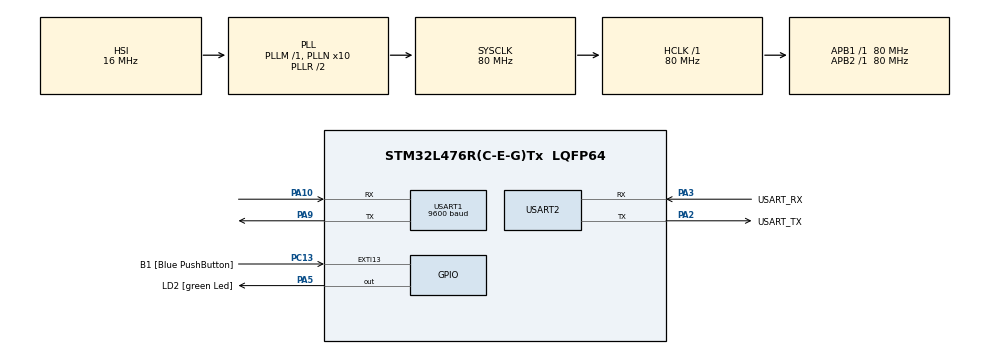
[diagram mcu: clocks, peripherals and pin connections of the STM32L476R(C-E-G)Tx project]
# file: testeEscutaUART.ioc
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Mcu.Family=STM32L4
Mcu.Name=STM32L476R(C-E-G)Tx
Mcu.Package=LQFP64
NVIC.PriorityGroup=NVIC_PRIORITYGROUP_4
NVIC.USART1_IRQn=true\:0\:0\:false\:false\:true\:true\:true\:true
NVIC.USART2_IRQn=true\:0\:0\:false\:false\:true\:true\:true\:true
PA10.Mode=Asynchronous
PA10.Signal=USART1_RX
PA13\ (JTMS-SWDIO).GPIO_Label=TMS
PA13\ (JTMS-SWDIO).Mode=Serial_Wire
PA13\ (JTMS-SWDIO).Signal=SYS_JTMS-SWDIO
PA14\ (JTCK-SWCLK).GPIO_Label=TCK
PA14\ (JTCK-SWCLK).Mode=Serial_Wire
PA14\ (JTCK-SWCLK).Signal=SYS_JTCK-SWCLK
PA2.GPIO_Label=USART_TX
PA2.GPIO_Mode=GPIO_MODE_AF_PP
PA2.GPIO_PuPd=GPIO_NOPULL
PA2.GPIO_Speed=GPIO_SPEED_FREQ_VERY_HIGH
PA2.Mode=Asynchronous
PA2.Signal=USART2_TX
PA3.GPIO_Label=USART_RX
PA3.GPIO_Mode=GPIO_MODE_AF_PP
PA3.GPIO_PuPd=GPIO_NOPULL
PA3.GPIO_Speed=GPIO_SPEED_FREQ_VERY_HIGH
PA3.Mode=Asynchronous
PA3.Signal=USART2_RX
PA5.GPIO_Label=LD2 [green Led]
PA5.GPIO_ModeDefaultOutputPP=GPIO_MODE_OUTPUT_PP
PA5.GPIO_PuPd=GPIO_NOPULL
PA5.GPIO_Speed=GPIO_SPEED_FREQ_LOW
PA5.Signal=GPIO_Output
PA9.Mode=Asynchronous
PA9.Signal=USART1_TX
PB3\ (JTDO-TRACESWO).GPIO_Label=SWO
PB3\ (JTDO-TRACESWO).Signal=SYS_JTDO-SWO
PC13.GPIO_Label=B1 [Blue PushButton]
PC13.GPIO_ModeDefaultEXTI=GPIO_MODE_IT_FALLING
PC13.GPIO_PuPd=GPIO_NOPULL
PC13.Signal=GPXTI13
PC14-OSC32_IN\ (PC14).Mode=LSE-External-Oscillator
PC14-OSC32_IN\ (PC14).Signal=RCC_OSC32_IN
PC15-OSC32_OUT\ (PC15).Mode=LSE-External-Oscillator
PC15-OSC32_OUT\ (PC15).Signal=RCC_OSC32_OUT
PH0-OSC_IN\ (PH0).Signal=RCC_OSC_IN
PH1-OSC_OUT\ (PH1).Signal=RCC_OSC_OUT
ProjectManager.HeapSize=0x200
ProjectManager.StackSize=0x400
ProjectManager.TargetToolchain=CMake
RCC.ADCFreq_Value=64000000
RCC.AHBFreq_Value=80000000
RCC.APB1Freq_Value=80000000
RCC.APB1TimFreq_Value=80000000
RCC.APB2Freq_Value=80000000
RCC.APB2TimFreq_Value=80000000
RCC.CortexFreq_Value=80000000
RCC.HCLKFreq_Value=80000000
RCC.HSE_VALUE=8000000
RCC.HSI_VALUE=16000000
RCC.MSI_VALUE=4000000
RCC.PLLN=10
RCC.PLLSourceVirtual=RCC_PLLSOURCE_HSI
RCC.PREFETCH_ENABLE=1
RCC.SYSCLKFreq_VALUE=80000000
RCC.SYSCLKSource=RCC_SYSCLKSOURCE_PLLCLK
RCC.USBFreq_Value=64000000
RCC.VCOOutputFreq_Value=160000000
USART1.BaudRate=9600
USART1.VirtualMode-Asynchronous=VM_ASYNC
USART2.VirtualMode-Asynchronous=VM_ASYNC
board=NUCLEO-L476RG

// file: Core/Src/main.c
/* USER CODE BEGIN Header */
/**
  ******************************************************************************
  * @file           : main.c
  * @brief          : Main program body
  ******************************************************************************
  * @attention
  *
  * Copyright (c) 2026 STMicroelectronics.
  * All rights reserved.
  *
  * This software is licensed under terms that can be found in the LICENSE file
  * in the root directory of this software component.
  * If no LICENSE file comes with this software, it is provided AS-IS.
  *
  ******************************************************************************
  */
/* USER CODE END Header */
#include "main.h"

/* USER CODE BEGIN Includes */
#include <stdio.h>
#include <string.h>
/* USER CODE END Includes */

UART_HandleTypeDef huart1;
UART_HandleTypeDef huart2;

/* USER CODE BEGIN PV */
uint8_t rxBuffer[1];
uint8_t n = 0;
/* USER CODE END PV */

void SystemClock_Config(void);
static void MX_GPIO_Init(void);
static void MX_USART1_UART_Init(void);
static void MX_USART2_UART_Init(void);

int main(void)
{

  /* MCU Configuration--------------------------------------------------------*/

  /* Reset of all peripherals, Initializes the Flash interface and the Systick. */
  HAL_Init();

  /* Configure the system clock */
  SystemClock_Config();

  /* Initialize all configured peripherals */
  MX_GPIO_Init();
  MX_USART1_UART_Init();
  MX_USART2_UART_Init();

  /* Infinite loop */
  /* USER CODE BEGIN WHILE */

  // printf("Comecou\r\n");

  // Comeca a escutar uart1 = tt&c
  HAL_UART_Receive_IT(&huart1, rxBuffer, sizeof(rxBuffer));

  // uint8_t teste = 0x02;

  while (1)
  {
    HAL_GPIO_TogglePin(GPIOA, GPIO_PIN_5);
	  HAL_Delay(500);
    /* USER CODE END WHILE */

  }
}

void SystemClock_Config(void)
{
  RCC_OscInitTypeDef RCC_OscInitStruct = {0};
  RCC_ClkInitTypeDef RCC_ClkInitStruct = {0};

  /** Configure the main internal regulator output voltage
  */
  if (HAL_PWREx_ControlVoltageScaling(PWR_REGULATOR_VOLTAGE_SCALE1) != HAL_OK)
  {
    Error_Handler();
  }

  /** Initializes the RCC Oscillators according to the specified parameters
  * in the RCC_OscInitTypeDef structure.
  */
  RCC_OscInitStruct.OscillatorType = RCC_OSCILLATORTYPE_HSI;
  RCC_OscInitStruct.HSIState = RCC_HSI_ON;
  RCC_OscInitStruct.HSICalibrationValue = RCC_HSICALIBRATION_DEFAULT;
  RCC_OscInitStruct.PLL.PLLState = RCC_PLL_ON;
  RCC_OscInitStruct.PLL.PLLSource = RCC_PLLSOURCE_HSI;
  RCC_OscInitStruct.PLL.PLLM = 1;
  RCC_OscInitStruct.PLL.PLLN = 10;
  RCC_OscInitStruct.PLL.PLLP = RCC_PLLP_DIV7;
  RCC_OscInitStruct.PLL.PLLQ = RCC_PLLQ_DIV2;
  RCC_OscInitStruct.PLL.PLLR = RCC_PLLR_DIV2;
  if (HAL_RCC_OscConfig(&RCC_OscInitStruct) != HAL_OK)
  {
    Error_Handler();
  }

  /** Initializes the CPU, AHB and APB buses clocks
  */
  RCC_ClkInitStruct.ClockType = RCC_CLOCKTYPE_HCLK|RCC_CLOCKTYPE_SYSCLK
                              |RCC_CLOCKTYPE_PCLK1|RCC_CLOCKTYPE_PCLK2;
  RCC_ClkInitStruct.SYSCLKSource = RCC_SYSCLKSOURCE_PLLCLK;
  RCC_ClkInitStruct.AHBCLKDivider = RCC_SYSCLK_DIV1;
  RCC_ClkInitStruct.APB1CLKDivider = RCC_HCLK_DIV1;
  RCC_ClkInitStruct.APB2CLKDivider = RCC_HCLK_DIV1;

  if (HAL_RCC_ClockConfig(&RCC_ClkInitStruct, FLASH_LATENCY_4) != HAL_OK)
  {
    Error_Handler();
  }
}

static void MX_USART1_UART_Init(void)
{

  huart1.Instance = USART1;
  huart1.Init.BaudRate = 9600;
  huart1.Init.WordLength = UART_WORDLENGTH_8B;
  huart1.Init.StopBits = UART_STOPBITS_1;
  huart1.Init.Parity = UART_PARITY_NONE;
  huart1.Init.Mode = UART_MODE_TX_RX;
  huart1.Init.HwFlowCtl = UART_HWCONTROL_NONE;
  huart1.Init.OverSampling = UART_OVERSAMPLING_16;
  huart1.Init.OneBitSampling = UART_ONE_BIT_SAMPLE_DISABLE;
  huart1.AdvancedInit.AdvFeatureInit = UART_ADVFEATURE_NO_INIT;
  if (HAL_UART_Init(&huart1) != HAL_OK)
  {
    Error_Handler();
  }

}

static void MX_USART2_UART_Init(void)
{

  huart2.Instance = USART2;
  huart2.Init.BaudRate = 115200;
  huart2.Init.WordLength = UART_WORDLENGTH_8B;
  huart2.Init.StopBits = UART_STOPBITS_1;
  huart2.Init.Parity = UART_PARITY_NONE;
  huart2.Init.Mode = UART_MODE_TX_RX;
  huart2.Init.HwFlowCtl = UART_HWCONTROL_NONE;
  huart2.Init.OverSampling = UART_OVERSAMPLING_16;
  huart2.Init.OneBitSampling = UART_ONE_BIT_SAMPLE_DISABLE;
  huart2.AdvancedInit.AdvFeatureInit = UART_ADVFEATURE_NO_INIT;
  if (HAL_UART_Init(&huart2) != HAL_OK)
  {
    Error_Handler();
  }

}

static void MX_GPIO_Init(void)
{
  GPIO_InitTypeDef GPIO_InitStruct = {0};

  /* GPIO Ports Clock Enable */
  __HAL_RCC_GPIOC_CLK_ENABLE();
  __HAL_RCC_GPIOH_CLK_ENABLE();
  __HAL_RCC_GPIOA_CLK_ENABLE();
  __HAL_RCC_GPIOB_CLK_ENABLE();

  /*Configure GPIO pin Output Level */
  HAL_GPIO_WritePin(LD2_GPIO_Port, LD2_Pin, GPIO_PIN_RESET);

  /*Configure GPIO pin : B1_Pin */
  GPIO_InitStruct.Pin = B1_Pin;
  GPIO_InitStruct.Mode = GPIO_MODE_IT_FALLING;
  GPIO_InitStruct.Pull = GPIO_NOPULL;
  HAL_GPIO_Init(B1_GPIO_Port, &GPIO_InitStruct);

  /*Configure GPIO pin : LD2_Pin */
  GPIO_InitStruct.Pin = LD2_Pin;
  GPIO_InitStruct.Mode = GPIO_MODE_OUTPUT_PP;
  GPIO_InitStruct.Pull = GPIO_NOPULL;
  GPIO_InitStruct.Speed = GPIO_SPEED_FREQ_LOW;
  HAL_GPIO_Init(LD2_GPIO_Port, &GPIO_InitStruct);

}

/* USER CODE BEGIN 4 */

void HAL_UART_RxCpltCallback(UART_HandleTypeDef *huart) {
  if (huart->Instance == USART1)            // veio do tt&c
    {
      n++;
        uint8_t cmd = rxBuffer[0];
        HAL_UART_Transmit(&huart1, &cmd, 1, 100);  // eco para tt&c
        // HAL_UART_Transmit(&huart1, &cmd, 1, 10);  // repassa para o satélite
        printf("%d Command received: %d\r\n", n, cmd); // eco para putty
        HAL_UART_Receive_IT(&huart1, rxBuffer, 1); // rearma
    }
  }

int __io_putchar (int ch) {
	HAL_UART_Transmit(&huart2, (uint8_t*)&ch, 1, 1000);
	return ch;
	}

/* USER CODE END 4 */

void Error_Handler(void)
{
  __disable_irq();
  while (1)
  {
  }
}
